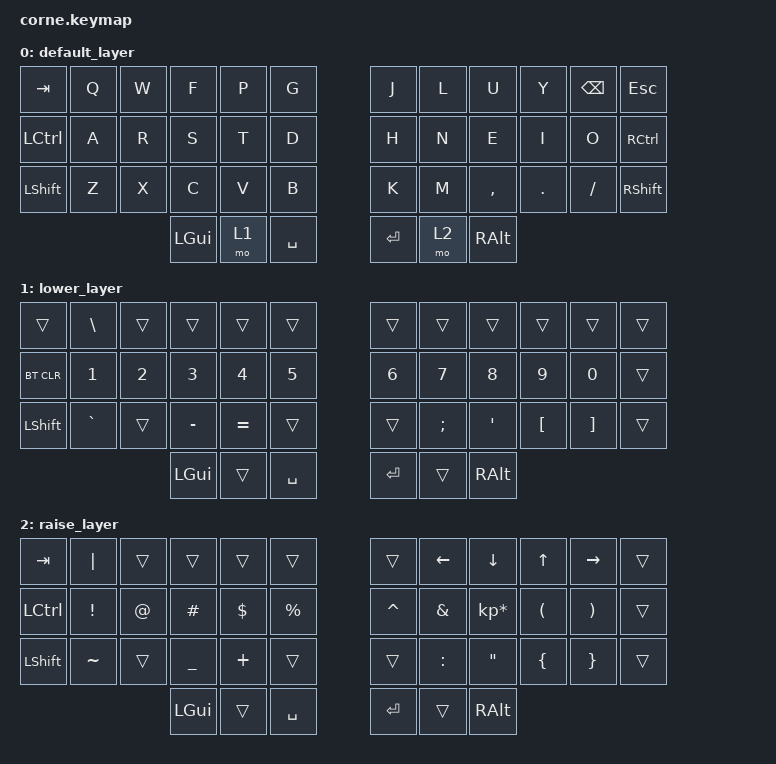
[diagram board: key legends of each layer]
/*
 * Copyright (c) 2020 The ZMK Contributors
 *
 * SPDX-License-Identifier: MIT
 */

#include <behaviors.dtsi>
#include <dt-bindings/zmk/keys.h>
#include <dt-bindings/zmk/bt.h>

/ {
        keymap {
                compatible = "zmk,keymap";

                default_layer {
                        bindings = <
   &kp TAB   &kp Q &kp W &kp F &kp P &kp G   &kp J &kp L  &kp U     &kp Y   &kp BSPC    &kp ESC
   &kp LCTRL &kp A &kp R &kp S &kp T &kp D   &kp H &kp N  &kp E     &kp I   &kp O &kp RCTRL
   &kp LSHFT &kp Z &kp X &kp C &kp V &kp B   &kp K &kp M  &kp COMMA &kp DOT &kp FSLH &kp RSHFT
                  &kp LGUI &mo 1 &kp SPACE   &kp RET &mo 2 &kp RALT
                        >;
                };
                lower_layer {
                        bindings = <
//   &bt BT_CLR &bt BT_SEL 0  &bt BT_SEL 1 &bt BT_SEL 2 &bt BT_SEL 3 &bt BT_SEL 4   &kp LEFT &kp DOWN &kp UP &kp RIGHT &trans &trans

   &trans     &kp BACKSLASH &trans       &trans       &trans        &trans         &trans   &trans   &trans &trans    &trans &trans
   &bt BT_CLR &kp N1  &kp N2 &kp N3 &kp N4 &kp N5   &kp N6 &kp N7 &kp N8 &kp N9 &kp N0 &trans
   &kp LSHFT  &kp GRAVE     &trans       &kp MINUS  &kp EQUAL       &trans         &trans   &kp SEMI    &kp SQT    &kp LBKT    &kp RBKT &trans
                                         &kp LGUI   &trans          &kp SPACE      &kp RET  &trans   &kp RALT
                        >;
                };

                raise_layer {
                        bindings = <
   &kp  TAB  &kp PIPE   &trans &trans     &trans     &trans         &trans    &kp LEFT  &kp DOWN        &kp UP   &kp RIGHT &trans
   &kp LCTRL &kp EXCL   &kp AT &kp HASH   &kp DLLR   &kp PRCNT      &kp CARET &kp AMPS  &kp KP_MULTIPLY &kp LPAR &kp RPAR  &trans
   &kp LSHFT &kp TILDE  &trans &kp UNDER     &kp PLUS   &trans         &trans    &kp COLON &kp DQT         &kp LBRC &kp RBRC  &trans
                             &kp LGUI &trans         &kp SPACE      &kp RET   &trans    &kp RALT
                        >;
                };
        };
};
